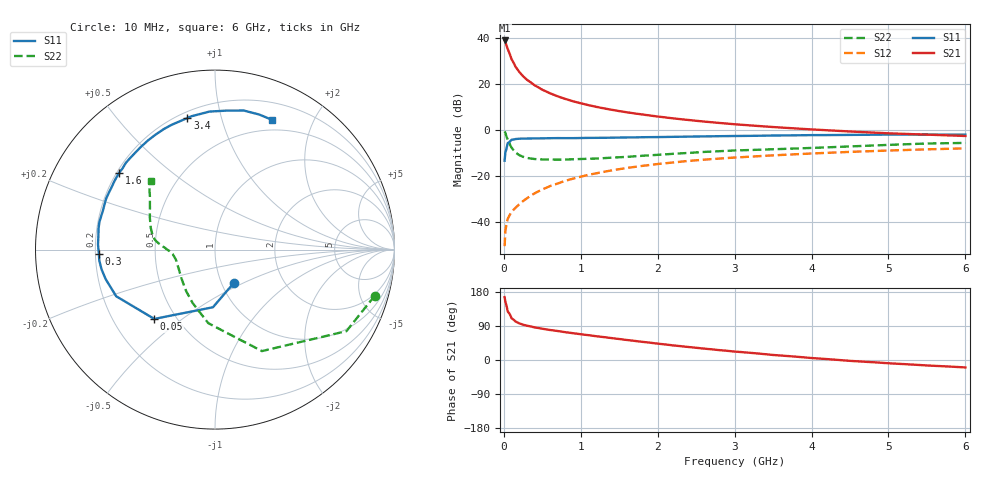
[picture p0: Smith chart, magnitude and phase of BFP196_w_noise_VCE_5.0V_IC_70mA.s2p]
! Infineon Technologies  Discrete & RF Semiconductors
! BFP196
! VCE =  5.0 V,  IC =  70 mA
! Common Emitter S-Parameters:  Jan 2017
# GHz  S  MA  R  50
!  f  S11  S21  S12  S22
! GHz  MAG  ANG  MAG  ANG  MAG  ANG  MAG  ANG
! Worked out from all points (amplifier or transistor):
!   77 points, 10 MHz to 6 GHz, reference 50 ohm
!   highest |S21| = 39.0 dB at 10 MHz (marker M1)
!   |S21| within 3 dB of that: start of sweep to 42.56 MHz
!   unconditionally stable (mu >= 1): 470.5 MHz to 2.387 GHz
!   at 130 MHz: K = 0.70, MSG = 31.9 dB, |S12| = -34.7 dB
!   at 2.2 GHz: K = 1.01, MAG = 9.0 dB, |S12| = -14.2 dB
!   at 6 GHz: K = 0.95, MSG = 2.7 dB, |S12| = -8.1 dB
!   lowest NFmin = 1.68 dB at 450 MHz
!   S11 on the Smith chart (normalised r, x): 10 MHz: 1.14, -0.44; 50 MHz: 0.38, -0.40; 300 MHz: 0.21, -0.02; 1.6 GHz: 0.21, +0.34; 3.4 GHz: 0.23, +0.79; 6 GHz: 0.38, +1.47
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0.01  0.2133 -60.5  89.56 165.9  0.0029 79.5  0.9265 -16.1
0.02  0.3213 -92.0  83.83 153.5  0.0063 72.0  0.8619 -31.8
0.05  0.5134 -131.2  58.34 128.1  0.0114 57.6  0.623 -65.2
0.1  0.6088 -154.7  34.92 110.0  0.0161 56.8  0.4112 -95.3
0.15  0.6311 -164.9  24.23 101.9  0.0199 59.2  0.3223 -112.8
0.2  0.6419 -170.3  18.44 96.8  0.0237 63.2  0.2816 -124.8
0.25  0.6475 -174.7  14.85 93.1  0.028 64.5  0.2584 -133.2
0.3  0.6474 -177.7  12.42 90.5  0.0322 65.3  0.2448 -140.2
0.4  0.6525 177.5  9.399 86.0  0.0412 67.2  0.2314 -149.1
0.5  0.6542 173.3  7.526 82.5  0.05 68.6  0.2266 -155.5
0.6  0.6594 169.6  6.303 79.2  0.0593 68.3  0.2258 -160.3
0.7  0.6621 166.7  5.405 76.5  0.0676 68.7  0.2242 -163.9
0.8  0.6609 163.6  4.74 73.4  0.0777 68.4  0.2257 -166.5
0.9  0.6613 160.6  4.21 70.7  0.0864 67.0  0.2284 -168.6
1.1  0.6696 154.9  3.472 65.5  0.1047 65.2  0.2343 -172.4
1.6  0.6843 141.3  2.423 52.8  0.1475 58.8  0.2578 -178.8
2.1  0.7009 128.3  1.871 41.0  0.1871 51.8  0.2931 176.2
3.1  0.7383 107.2  1.291 20.7  0.2547 37.9  0.3596 166.3
3.4  0.7493 101.8  1.187 15.3  0.2722 34.2  0.3734 162.4
4.1  0.7702 90.8  1.004 3.8  0.3106 25.6  0.41 152.3
5.1  0.7905 77.0  0.831 -9.7  0.3588 13.9  0.4774 139.6
6  0.7898 66.2  0.737 -19.6  0.3958 3.8  0.5201 133.0
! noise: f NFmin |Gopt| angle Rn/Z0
0.45  1.68  0.46  -172  0.06
0.9  1.84  0.5  -159  0.09
1.9  2.66  0.69  -131  0.36
2.4  3.05  0.7  -117  0.79
